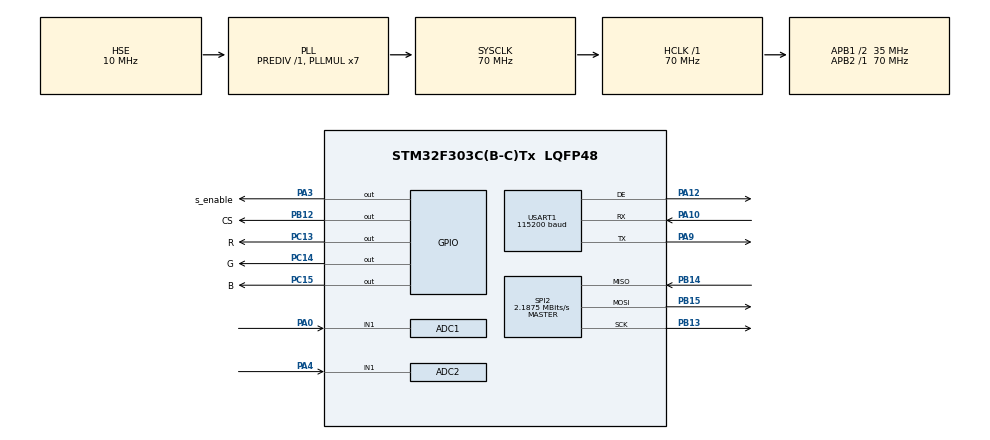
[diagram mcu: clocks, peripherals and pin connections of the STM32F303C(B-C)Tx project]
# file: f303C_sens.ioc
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ADC1.Channel-0\#ChannelRegularConversion=ADC_CHANNEL_1
ADC1.ClockPrescaler=ADC_CLOCK_SYNC_PCLK_DIV2
ADC1.ContinuousConvMode=DISABLE
ADC1.DMAContinuousRequests=ENABLE
ADC1.ExternalTrigConv=ADC_EXTERNALTRIGCONV_T3_TRGO
ADC1.NbrOfConversionFlag=1
ADC1.Offset-0\#ChannelRegularConversion=0
ADC1.OffsetNumber-0\#ChannelRegularConversion=ADC_OFFSET_NONE
ADC1.Rank-0\#ChannelRegularConversion=1
ADC1.SamplingTime-0\#ChannelRegularConversion=ADC_SAMPLETIME_61CYCLES_5
ADC1.master=1
ADC2.Channel-0\#ChannelRegularConversion=ADC_CHANNEL_1
ADC2.ClockPrescaler=ADC_CLOCK_SYNC_PCLK_DIV2
ADC2.NbrOfConversionFlag=1
ADC2.Offset-0\#ChannelRegularConversion=0
ADC2.OffsetNumber-0\#ChannelRegularConversion=ADC_OFFSET_NONE
ADC2.Rank-0\#ChannelRegularConversion=1
ADC2.SamplingTime-0\#ChannelRegularConversion=ADC_SAMPLETIME_1CYCLE_5
Dma.ADC1.0.Direction=DMA_PERIPH_TO_MEMORY
Dma.ADC1.0.Instance=DMA1_Channel1
Dma.ADC1.0.MemDataAlignment=DMA_MDATAALIGN_HALFWORD
Dma.ADC1.0.MemInc=DMA_MINC_ENABLE
Dma.ADC1.0.Mode=DMA_CIRCULAR
Dma.ADC1.0.PeriphDataAlignment=DMA_PDATAALIGN_HALFWORD
Dma.ADC1.0.PeriphInc=DMA_PINC_DISABLE
Dma.ADC1.0.Priority=DMA_PRIORITY_LOW
Dma.Request0=ADC1
FREERTOS.BinarySemaphores01=ADC_end,Dynamic,NULL
FREERTOS.Tasks01=MainTask,0,256,mainTask,Default,NULL,Dynamic,NULL,NULL;Modbus,0,256,modbus,Default,NULL,Dynamic,NULL,NULL
Mcu.Family=STM32F3
Mcu.Name=STM32F303C(B-C)Tx
Mcu.Package=LQFP48
NVIC.DMA1_Channel1_IRQn=true\:5\:0\:false\:false\:true\:true\:false\:true
NVIC.PriorityGroup=NVIC_PRIORITYGROUP_4
NVIC.TIM6_DAC_IRQn=true\:5\:0\:false\:false\:true\:true\:true\:true
NVIC.TIM7_IRQn=true\:0\:0\:false\:false\:true\:false\:false\:true
NVIC.TimeBase=TIM7_IRQn
NVIC.TimeBaseIP=TIM7
NVIC.USART1_IRQn=true\:5\:0\:false\:false\:true\:true\:true\:true
PA0.Mode=IN1-Single-Ended
PA0.Signal=ADC1_IN1
PA10.Mode=Asynchronous
PA10.Signal=USART1_RX
PA12.Mode=Hardware Flow Control (RS485)
PA12.Signal=USART1_DE
PA13.Mode=Serial_Wire
PA13.Signal=SYS_JTMS-SWDIO
PA14.Mode=Serial_Wire
PA14.Signal=SYS_JTCK-SWCLK
PA3.GPIO_Label=s_enable
PA3.Signal=GPIO_Output
PA4.Mode=IN1-Single-Ended
PA4.Signal=ADC2_IN1
PA9.Mode=Asynchronous
PA9.Signal=USART1_TX
PB12.GPIO_Label=CS
PB12.Signal=GPIO_Output
PB13.Mode=Full_Duplex_Master
PB13.Signal=SPI2_SCK
PB14.Mode=Full_Duplex_Master
PB14.Signal=SPI2_MISO
PB15.Mode=Full_Duplex_Master
PB15.Signal=SPI2_MOSI
PC13.GPIO_Label=R
PC13.Signal=GPIO_Output
PC14-OSC32_IN.GPIO_Label=G
PC14-OSC32_IN.Signal=GPIO_Output
PC15-OSC32_OUT.GPIO_Label=B
PC15-OSC32_OUT.Signal=GPIO_Output
PF0-OSC_IN.Mode=HSE-External-Oscillator
PF0-OSC_IN.Signal=RCC_OSC_IN
PF1-OSC_OUT.Mode=HSE-External-Oscillator
PF1-OSC_OUT.Signal=RCC_OSC_OUT
ProjectManager.HeapSize=0x2000
ProjectManager.StackSize=0x4000
ProjectManager.TargetToolchain=EWARM V8.32
RCC.AHBFreq_Value=70000000
RCC.APB1CLKDivider=RCC_HCLK_DIV2
RCC.APB1Freq_Value=35000000
RCC.APB1TimFreq_Value=70000000
RCC.APB2Freq_Value=70000000
RCC.APB2TimFreq_Value=70000000
RCC.CortexFreq_Value=70000000
RCC.HCLKFreq_Value=70000000
RCC.HSE_VALUE=10000000
RCC.HSI_VALUE=8000000
RCC.LSE_VALUE=32768
RCC.PLLMUL=RCC_PLL_MUL7
RCC.PLLSourceVirtual=RCC_PLLSOURCE_HSE
RCC.SYSCLKFreq_VALUE=70000000
RCC.SYSCLKSourceVirtual=RCC_SYSCLKSOURCE_PLLCLK
RCC.USBFreq_Value=70000000
SPI2.BaudRatePrescaler=SPI_BAUDRATEPRESCALER_16
SPI2.CalculateBaudRate=2.1875 MBits/s
SPI2.DataSize=SPI_DATASIZE_8BIT
SPI2.Direction=SPI_DIRECTION_2LINES
SPI2.Mode=SPI_MODE_MASTER
SPI2.VirtualType=VM_MASTER
TIM3.Channel-Output\ Compare1\ No\ Output=TIM_CHANNEL_1
TIM3.Period=250
TIM3.Prescaler=70-1
TIM3.TIM_MasterOutputTrigger=TIM_TRGO_UPDATE
TIM6.Prescaler=70-1
USART1.BaudRate=115200
USART1.VirtualMode-Asynchronous=VM_ASYNC
USART1.VirtualMode-Hardware\ Flow\ Control\ (RS485)=VM_ASYNC
VP_FREERTOS_VS_CMSIS_V1.Mode=CMSIS_V1
VP_SYS_VS_tim7.Mode=TIM7
VP_TIM3_VS_no_output1.Mode=Output Compare1 No Output
VP_TIM6_VS_ClockSourceINT.Mode=Enable_Timer
board=custom

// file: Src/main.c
/* USER CODE BEGIN Header */
/**
  ******************************************************************************
  * @file           : main.c
  * @brief          : Main program body
  ******************************************************************************
  * @attention
  *
  * <h2><center>&copy; Copyright (c) 2021 STMicroelectronics.
  * All rights reserved.</center></h2>
  *
  * This software component is licensed by ST under Ultimate Liberty license
  * SLA0044, the "License"; You may not use this file except in compliance with
  * the License. You may obtain a copy of the License at:
  *                             www.st.com/SLA0044
  *
  ******************************************************************************
  */
/* USER CODE END Header */
#include "main.h"
#include "cmsis_os.h"
#include "adc.h"
#include "dma.h"
#include "spi.h"
#include "tim.h"
#include "usart.h"
#include "gpio.h"

/* USER CODE BEGIN Includes */
#include "flash_user.h"
/* USER CODE END Includes */

/* USER CODE BEGIN PV */
settings_t settings = {115200, 0x0E};
/* USER CODE END PV */

void SystemClock_Config(void);
void MX_FREERTOS_Init(void);

int main(void)
{

  /* MCU Configuration--------------------------------------------------------*/

  /* Reset of all peripherals, Initializes the Flash interface and the Systick. */
  HAL_Init();

  /* Configure the system clock */
  SystemClock_Config();

  /* Initialize all configured peripherals */
  MX_GPIO_Init();
  MX_DMA_Init();
  MX_ADC1_Init();
  MX_ADC2_Init();
  MX_SPI2_Init();
  MX_USART1_UART_Init();
  MX_TIM3_Init();
  MX_TIM6_Init();
  /* USER CODE BEGIN 2 */
  Flash_Read(&settings, StartSettingsAddres);
  if((settings.BaudRate == 0) | (settings.BaudRate == 0xFFFFFFFF) | (settings.timeCall == 0) | (settings.timeCall == 0xFFFFFFFF))
    {
      settings.BaudRate = 115200;
      settings.SlaveAddress = 0x02;
      settings.offsetMax = 0;
      settings.offsetMin = 0;
      settings.timeCall = 3000;
      Flash_Write(settings, StartSettingsAddres);
    }
  /* USER CODE END 2 */

  /* Call init function for freertos objects (in freertos.c) */
  MX_FREERTOS_Init();
  /* Start scheduler */
  osKernelStart();

  /* We should never get here as control is now taken by the scheduler */
  /* Infinite loop */
  while (1)
  {

  }
}

void SystemClock_Config(void)
{
  RCC_OscInitTypeDef RCC_OscInitStruct = {0};
  RCC_ClkInitTypeDef RCC_ClkInitStruct = {0};
  RCC_PeriphCLKInitTypeDef PeriphClkInit = {0};

  /** Initializes the RCC Oscillators according to the specified parameters
  * in the RCC_OscInitTypeDef structure.
  */
  RCC_OscInitStruct.OscillatorType = RCC_OSCILLATORTYPE_HSE;
  RCC_OscInitStruct.HSEState = RCC_HSE_ON;
  RCC_OscInitStruct.HSEPredivValue = RCC_HSE_PREDIV_DIV1;
  RCC_OscInitStruct.HSIState = RCC_HSI_ON;
  RCC_OscInitStruct.PLL.PLLState = RCC_PLL_ON;
  RCC_OscInitStruct.PLL.PLLSource = RCC_PLLSOURCE_HSE;
  RCC_OscInitStruct.PLL.PLLMUL = RCC_PLL_MUL7;
  if (HAL_RCC_OscConfig(&RCC_OscInitStruct) != HAL_OK)
  {
    Error_Handler();
  }
  /** Initializes the CPU, AHB and APB buses clocks
  */
  RCC_ClkInitStruct.ClockType = RCC_CLOCKTYPE_HCLK|RCC_CLOCKTYPE_SYSCLK
                              |RCC_CLOCKTYPE_PCLK1|RCC_CLOCKTYPE_PCLK2;
  RCC_ClkInitStruct.SYSCLKSource = RCC_SYSCLKSOURCE_PLLCLK;
  RCC_ClkInitStruct.AHBCLKDivider = RCC_SYSCLK_DIV1;
  RCC_ClkInitStruct.APB1CLKDivider = RCC_HCLK_DIV2;
  RCC_ClkInitStruct.APB2CLKDivider = RCC_HCLK_DIV1;

  if (HAL_RCC_ClockConfig(&RCC_ClkInitStruct, FLASH_LATENCY_2) != HAL_OK)
  {
    Error_Handler();
  }
  PeriphClkInit.PeriphClockSelection = RCC_PERIPHCLK_USART1;
  PeriphClkInit.Usart1ClockSelection = RCC_USART1CLKSOURCE_PCLK2;
  if (HAL_RCCEx_PeriphCLKConfig(&PeriphClkInit) != HAL_OK)
  {
    Error_Handler();
  }
}

void HAL_TIM_PeriodElapsedCallback(TIM_HandleTypeDef *htim)
{
  if (htim->Instance == TIM7) {
    HAL_IncTick();
  }
}

void Error_Handler(void)
{
}

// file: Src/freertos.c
/* USER CODE BEGIN Header */
/**
  ******************************************************************************
  * File Name          : freertos.c
  * Description        : Code for freertos applications
  ******************************************************************************
  * @attention
  *
  * <h2><center>&copy; Copyright (c) 2021 STMicroelectronics.
  * All rights reserved.</center></h2>
  *
  * This software component is licensed by ST under Ultimate Liberty license
  * SLA0044, the "License"; You may not use this file except in compliance with
  * the License. You may obtain a copy of the License at:
  *                             www.st.com/SLA0044
  *
  ******************************************************************************
  */
/* USER CODE END Header */

#include "FreeRTOS.h"
#include "task.h"
#include "main.h"
#include "cmsis_os.h"

/* USER CODE BEGIN Includes */
#include "mb.h"
#include "mbport.h"
#include "flash_user.h"
//#include "filter_sma.h"

#include "sensor.h"
/* USER CODE END Includes */

/* USER CODE BEGIN Variables */
extern TIM_HandleTypeDef htim3;
extern ADC_HandleTypeDef hadc2;
extern ADC_HandleTypeDef hadc1;

extern settings_t settings;
uint16_t sensBuff[8] = {0};
uint8_t sensState = 255; // битовое поле

uint32_t freqSens = HAL_RCC_GetHCLKFreq()/30000u;
uint32_t pwmSens;

uint16_t adc_buffer[1024] = {0};
sensor Sensor1;
sensor Sensor2;
sensor Sensor3;
uint16_t call = 0;
bool to_measure = false;
/* USER CODE END Variables */
osThreadId MainTaskHandle;
osThreadId ModbusHandle;
osSemaphoreId ADC_endHandle;

/* USER CODE BEGIN FunctionPrototypes */
// extern "C"
/* USER CODE END FunctionPrototypes */

void mainTask(void const * argument);
void modbus(void const * argument);

void MX_FREERTOS_Init(void); /* (MISRA C 2004 rule 8.1) */

/* GetIdleTaskMemory prototype (linked to static allocation support) */
extern "C" void vApplicationGetIdleTaskMemory( StaticTask_t **ppxIdleTaskTCBBuffer, StackType_t **ppxIdleTaskStackBuffer, uint32_t *pulIdleTaskStackSize );

/* USER CODE BEGIN GET_IDLE_TASK_MEMORY */
static StaticTask_t xIdleTaskTCBBuffer;
static StackType_t xIdleStack[configMINIMAL_STACK_SIZE];

void vApplicationGetIdleTaskMemory( StaticTask_t **ppxIdleTaskTCBBuffer, StackType_t **ppxIdleTaskStackBuffer, uint32_t *pulIdleTaskStackSize )
{
  *ppxIdleTaskTCBBuffer = &xIdleTaskTCBBuffer;
  *ppxIdleTaskStackBuffer = &xIdleStack[0];
  *pulIdleTaskStackSize = configMINIMAL_STACK_SIZE;
  /* place for user code */
}
/* USER CODE END GET_IDLE_TASK_MEMORY */

void MX_FREERTOS_Init(void) {

  /* Create the semaphores(s) */
  /* definition and creation of ADC_end */
  osSemaphoreDef(ADC_end);
  ADC_endHandle = osSemaphoreCreate(osSemaphore(ADC_end), 1);

  /* Create the thread(s) */
  /* definition and creation of MainTask */
  osThreadDef(MainTask, mainTask, osPriorityNormal, 0, 256);
  MainTaskHandle = osThreadCreate(osThread(MainTask), NULL);

  /* definition and creation of Modbus */
  osThreadDef(Modbus, modbus, osPriorityNormal, 0, 256);
  ModbusHandle = osThreadCreate(osThread(Modbus), NULL);

}

void mainTask(void const * argument)
{
  /* USER CODE BEGIN mainTask */
   HAL_ADC_Start_DMA(&hadc1, (uint32_t*)&adc_buffer, 1);
   HAL_TIM_Base_Start_IT(&htim3);
   Sensor1.setTimeCall(settings.timeCall);

   HAL_GPIO_WritePin(R_GPIO_Port, R_Pin, GPIO_PIN_SET);
   HAL_GPIO_WritePin(G_GPIO_Port, G_Pin, GPIO_PIN_SET);
   HAL_GPIO_WritePin(B_GPIO_Port, B_Pin, GPIO_PIN_SET);

   /* Infinite loop */
   for(;;)
   {

      //osSemaphoreWait(ADC_endHandle, osWaitForever);
      //Sensor1.Filter_SMA(adc_buffer[0]);

      //Sensor2.Filter_SMA(adc_buffer[1]);
      //Sensor3.Filter_SMA(adc_buffer[2]);
      //printf("CH1: %d\r\n",Sensor1.Get_Result());
      //printf("CH2: %d\r\n",Sensor2.Get_Result());
      //printf("CH3: %d\r\n",Sensor3.Get_Result());

      if(call){
         call = 0;
         HAL_GPIO_WritePin(G_GPIO_Port, G_Pin, GPIO_PIN_RESET);
         HAL_GPIO_WritePin(s_enable_GPIO_Port, s_enable_Pin, GPIO_PIN_SET); // enable sensor
         Sensor1.Call(&adc_buffer[0]);
         //Flash_Write(settings, StartSettingsAddres);
         HAL_GPIO_WritePin(s_enable_GPIO_Port, s_enable_Pin, GPIO_PIN_RESET);// disable sensor
         HAL_GPIO_WritePin(G_GPIO_Port, G_Pin, GPIO_PIN_SET);
         to_measure = false;
      }
      if(Sensor1.detectPoll()){
         HAL_GPIO_WritePin(R_GPIO_Port, R_Pin, GPIO_PIN_RESET);
      }else{
         HAL_GPIO_WritePin(R_GPIO_Port, R_Pin, GPIO_PIN_SET);
      }
      //taskYIELD();
   }
  /* USER CODE END mainTask */
}

void modbus(void const * argument)
{
  /* USER CODE BEGIN modbus */
 /* Infinite loop */
   eMBErrorCode eStatus = eMBInit( MB_RTU, settings.SlaveAddress, 3, settings.BaudRate, MB_PAR_NONE );
   eStatus = eMBEnable();
   //HAL_TIM_Base_Start_IT(&htim17);
   for(;;)
   {
      eMBPoll();
      //taskYIELD();
   }
  /* USER CODE END modbus */
}

/* USER CODE BEGIN Application */

void HAL_ADC_ConvCpltCallback(ADC_HandleTypeDef* hadc){
  /* This is called after the conversion is completed */

  if(to_measure){
   //osSemaphoreRelease(ADC_endHandle);
   Sensor1.Filter_SMA(adc_buffer[0]);
  }

}
/*description https://www.freemodbus.org/api/group__modbus__registers.html*/
//0x04
eMBErrorCode
eMBRegInputCB( UCHAR * pucRegBuffer, USHORT usAddress, USHORT usNRegs )
{
   eMBErrorCode    eStatus = MB_ENOERR;

   return eStatus;
}
//0x03 0x06 0x10
eMBErrorCode
eMBRegHoldingCB( UCHAR * pucRegBuffer, USHORT usAddress, USHORT usNRegs, eMBRegisterMode eMode )
{
   //uint8_t CMD[5] = {0};
   volatile HAL_StatusTypeDef status;

   if(usAddress == 0 ){}
   else{usAddress--;}

   eMBErrorCode    eStatus = MB_ENOERR;

   switch (eMode)
   {
     case MB_REG_READ:
      {
         switch (usAddress)
         {
           case 0:
            {
              uint16_t temp = (uint16_t)Sensor1.getdetect();
              *(pucRegBuffer) = (temp & 0xff00)>>8;
              *(pucRegBuffer+1) = temp & 0x00ff;
            break;
            }
           case 1:
            {
              uint16_t temp = Sensor1.Get_Result();
              *(pucRegBuffer) = (temp & 0xff00)>>8;
              *(pucRegBuffer+1) = temp & 0x00ff;
               break;
            }
           case 2:
            {
              uint16_t temp = (uint16_t)Sensor1.getdetect();
              *(pucRegBuffer) = (temp & 0xff00)>>8;
              *(pucRegBuffer+1) = temp & 0x00ff;
              to_measure = false;
              HAL_GPIO_WritePin(s_enable_GPIO_Port, s_enable_Pin, GPIO_PIN_RESET);// disable sensor
               break;
            }
           case 3: //Status Dir
            {

               break;
            }
           case 4: // RPM
            {
              uint16_t temp = Sensor1.Depth; // глубина фильтра
              *(pucRegBuffer) = (temp & 0xff00)>>8;
              *(pucRegBuffer+1) = temp & 0x00ff;
               break;
            }
           case 5: //
            {

               break;
            }
           case 6: //
            {
              uint16_t temp = Sensor1.timOut;
              *(pucRegBuffer) = (temp & 0xff00)>>8;
              *(pucRegBuffer+1) = temp & 0x00ff;
               break;
            }
           case 7: //
            {

               break;
            }
           case 8:
            {

              //Flash_Write(settings, StartSettingsAddres);
               break;
            }
           case 9:
            {
              uint16_t temp = settings.BaudRate;
              *(pucRegBuffer) = (temp & 0xff00)>>8;
              *(pucRegBuffer+1) = temp & 0x00ff;
               break;
            }
           case 10:
            {
              uint16_t temp = settings.SlaveAddress;
              *(pucRegBuffer) = (temp & 0xff00)>>8;
              *(pucRegBuffer+1) = temp & 0x00ff;
               break;
            }
           case 11:
            {

               break;
            }
           default:
            {
               eStatus = MB_ENOREG;
               break;
            }
         }

         break;
      }
     case MB_REG_WRITE:
      {

         switch (usAddress)
         {
           case 0: //  Stop/Start
            {

               break;
            }
           case 1: // Dir
            {

               break;
            }
           case 2:
            {
               HAL_GPIO_WritePin(s_enable_GPIO_Port, s_enable_Pin, GPIO_PIN_SET); // enable sensor
               to_measure = true;
               break;
            }
           case 3:
            {

               break;
            }
           case 4: //
            {
              uint32_t temp = 0;
              temp = temp |(*(pucRegBuffer) << 8);
              temp = temp | *(pucRegBuffer+1);
              if(temp > 100){temp = 100;}
              Sensor1.Depth = temp;
               break;
            }
           case 5: //
            {
              uint32_t temp = 0;
              temp = temp |(*(pucRegBuffer) << 8);
              temp = temp | *(pucRegBuffer+1);
              Sensor1.setTimeCall(temp);
              settings.timeCall = temp;
               break;
            }
           case 6: //
            {
              uint32_t temp = 0;
              temp = temp |(*(pucRegBuffer) << 8);
              temp = temp | *(pucRegBuffer+1);
              Sensor1.timOut = temp;
               break;
            }
           case 7: //
            {

              if((*(pucRegBuffer+1)) == 1)
                {
                  to_measure = true;
                  call = 1;
                }
               break;
            }
           case 8:
            {
              Flash_Write(settings, StartSettingsAddres);

               break;
            }
           case 9:
            {
               settings.BaudRate = ((*(pucRegBuffer)<<8) | (*(pucRegBuffer+1)))*10;
               break;
            }
           case 10:
            {
               settings.SlaveAddress = *(pucRegBuffer+1);
               break;
            }
           case 0x0F:
            {
               //Flash_Write(settings, StartSettingsAddres);
               break;
            }
           default:
            {
               eStatus = MB_ENOREG;
               break;
            }
         }
         break;
      }
     default:
      {
         eStatus = MB_EINVAL;
         break;
      }
   }

   return eStatus;
}

// 0x01 0x0f 0x05
eMBErrorCode
eMBRegCoilsCB( UCHAR * pucRegBuffer, USHORT usAddress, USHORT usNCoils, eMBRegisterMode eMode )
{
   return MB_ENOREG;
}
//0x02
eMBErrorCode
eMBRegDiscreteCB( UCHAR * pucRegBuffer, USHORT usAddress, USHORT usNDiscrete )
{
   return MB_ENOREG;
}

/* USER CODE END Application */
